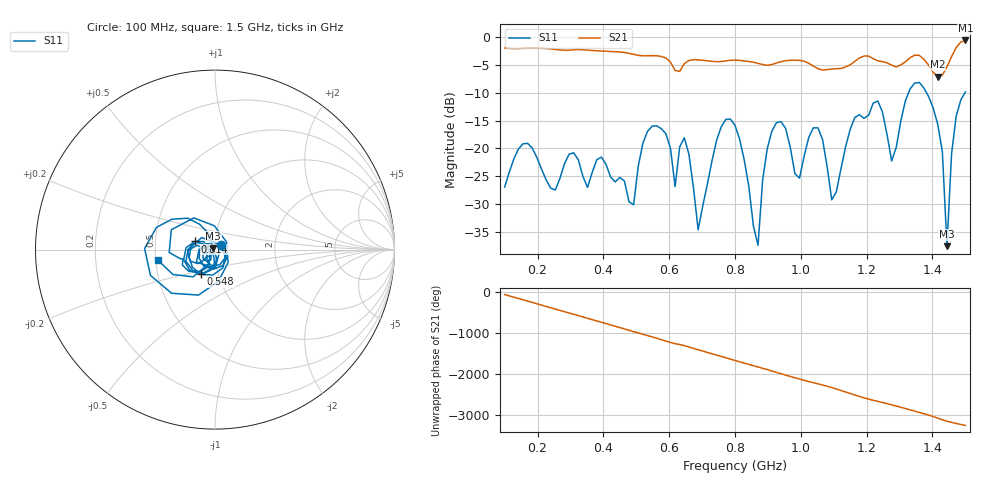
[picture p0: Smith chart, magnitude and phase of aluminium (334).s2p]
! NanoVNA-App
! Date: 2025-09-25 14:57:53
! Start: 100MHz Stop: 1,5GHz Points: 101
! S-Parameter data: F S11 S21 S12 S22
# Hz S RI R 50
!  Frequency  S11_Real  S11_Imag  S21_Real  S21_Imag  S12_Real  S12_Imag  S22_Real  S22_Imag
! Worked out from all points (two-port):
!   101 points, 100 MHz to 1.5 GHz, reference 50 ohm
!   highest |S21| = -0.56 dB at 1.5 GHz (marker M1); lowest = -7.1 dB at 1.416 GHz (marker M2)
!   |S21| within 3 dB of the highest: start of sweep to 581.9 MHz; 1.457 GHz to end of sweep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
!   lowest |S11| = -37.6 dB at 1.444 GHz (marker M3), VSWR 1.03, Z = 49 + j0.802 ohm
!   |S11| at or under -10 dB: start of sweep to 1.327 GHz; 1.382 GHz to 1.498 GHz (116.4 MHz wide, 8.08 % of centre)
!   S12 and S22 are empty: the file has one direction only
!   S11 on the Smith chart (normalised r, x): 100 MHz: 1.07, +0.06; 548 MHz: 0.82, -0.23; 814 MHz: 0.80, +0.07; 1.5 GHz: 0.52, -0.07
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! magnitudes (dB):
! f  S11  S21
! 100 MHz  -27.0  -1.9
! 338 MHz  -25.0  -2.2
! 492 MHz  -30.2  -3.1
! 548 MHz  -16.0  -3.3
! 576 MHz  -16.4  -3.4
! 618 MHz  -26.9  -6.0
! 646 MHz  -18.1  -4.8
! 688 MHz  -34.7  -4.1
! 800 MHz  -15.8  -4.1
! 814 MHz  -18.3  -4.2
! 870 MHz  -37.4  -4.7
! 912 MHz  -16.9  -4.9
! 996 MHz  -25.4  -4.2
! 1.038 GHz  -16.3  -5.2
! 1.094 GHz  -29.3  -5.7
! 1.22 GHz  -11.8  -3.8
! 1.276 GHz  -22.3  -5.0
! 1.346 GHz  -8.2  -3.2
! 1.416 GHz  -15.7  -7.1
! 1.444 GHz  -37.6  -5.3
! 1.458 GHz  -21.0  -3.5
! 1.5 GHz  -9.8  -0.6
